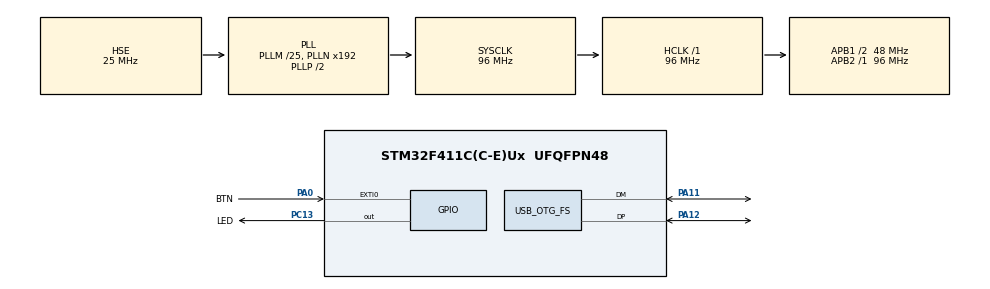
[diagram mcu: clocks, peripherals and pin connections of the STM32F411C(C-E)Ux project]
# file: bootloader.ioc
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Mcu.Family=STM32F4
Mcu.Name=STM32F411C(C-E)Ux
Mcu.Package=UFQFPN48
NVIC.EXTI0_IRQn=true\:0\:0\:false\:false\:true\:true\:true\:true
NVIC.OTG_FS_IRQn=true\:0\:0\:false\:false\:true\:false\:true\:true
NVIC.PriorityGroup=NVIC_PRIORITYGROUP_4
PA0-WKUP.GPIO_Label=BTN
PA0-WKUP.GPIO_ModeDefaultEXTI=GPIO_MODE_IT_RISING
PA0-WKUP.GPIO_PuPd=GPIO_PULLUP
PA0-WKUP.Signal=GPXTI0
PA11.Mode=Device_Only
PA11.Signal=USB_OTG_FS_DM
PA12.Mode=Device_Only
PA12.Signal=USB_OTG_FS_DP
PA13.Mode=Serial_Wire
PA13.Signal=SYS_JTMS-SWDIO
PA14.Mode=Serial_Wire
PA14.Signal=SYS_JTCK-SWCLK
PC13-ANTI_TAMP.GPIO_Label=LED
PC13-ANTI_TAMP.GPIO_ModeDefaultOutputPP=GPIO_MODE_OUTPUT_OD
PC13-ANTI_TAMP.PinState=GPIO_PIN_SET
PC13-ANTI_TAMP.Signal=GPIO_Output
PH0\ -\ OSC_IN.Mode=HSE-External-Oscillator
PH0\ -\ OSC_IN.Signal=RCC_OSC_IN
PH1\ -\ OSC_OUT.Mode=HSE-External-Oscillator
PH1\ -\ OSC_OUT.Signal=RCC_OSC_OUT
ProjectManager.HeapSize=0x200
ProjectManager.StackSize=0x400
ProjectManager.TargetToolchain=STM32CubeIDE
RCC.48MHZClocksFreq_Value=48000000
RCC.AHBFreq_Value=96000000
RCC.APB1CLKDivider=RCC_HCLK_DIV2
RCC.APB1Freq_Value=48000000
RCC.APB1TimFreq_Value=96000000
RCC.APB2Freq_Value=96000000
RCC.APB2TimFreq_Value=96000000
RCC.CortexFreq_Value=96000000
RCC.HCLKFreq_Value=96000000
RCC.HSE_VALUE=25000000
RCC.HSI_VALUE=16000000
RCC.LSE_VALUE=32768
RCC.PLLM=25
RCC.SYSCLKFreq_VALUE=96000000
RCC.SYSCLKSource=RCC_SYSCLKSOURCE_PLLCLK
RCC.VCOOutputFreq_Value=192000000
USB_DEVICE.CLASS_NAME_FS=DFU
USB_DEVICE.MANUFACTURER_STRING=Lars Boegild Thomsen
USB_DEVICE.PRODUCT_STRING_DFU_FS=Demo Firmware Update
USB_DEVICE.USBD_DFU_APP_DEFAULT_ADD=0x08004000
USB_DEVICE.USBD_DFU_MEDIA=@Internal Flash   /0x08000000/01*16Ka,03*16Kg,01*64Kg,03*128Kg
USB_DEVICE.VirtualMode=Dfu
USB_DEVICE.VirtualModeFS=Dfu_FS
USB_OTG_FS.VirtualMode=Device_Only
VP_USB_DEVICE_VS_USB_DEVICE_DFU_FS.Mode=DFU_FS
board=custom

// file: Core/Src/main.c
/* USER CODE BEGIN Header */
/**
 ******************************************************************************
 * @file           : main.c
 * @brief          : Main program body
 ******************************************************************************
 * @attention
 *
 * <h2><center>&copy; Copyright (c) 20220 Lars Boegild Thomsen <lbthomsen@gmail.com>
 * All rights reserved.</center></h2>
 *
 * This software component is licensed under MIT license,
 * the "License"; You may not use this file except in compliance with the
 * License. You may obtain a copy of the License at:
 *                        opensource.org/licenses/MIT
 *
 ******************************************************************************
 */
/* USER CODE END Header */
#include "main.h"
#include "usb_device.h"

/* USER CODE BEGIN Includes */
#include "usbd_core.h"
#include "usbd_dfu.h"
/* USER CODE END Includes */

/* USER CODE BEGIN PTD */

typedef void (*pFunction)(void);

/* USER CODE END PTD */

/* USER CODE BEGIN PD */

#define DFU_BOOT_FLAG 0xDEADBEEF

/* USER CODE END PD */

/* USER CODE BEGIN PV */
extern int _estack;
uint32_t *dfu_boot_flag;
pFunction JumpToApplication;
uint32_t JumpAddress;

extern USBD_HandleTypeDef hUsbDeviceFS;
/* USER CODE END PV */

void SystemClock_Config(void);
static void MX_GPIO_Init(void);

/* USER CODE BEGIN 0 */
void HAL_GPIO_EXTI_Callback(uint16_t GPIO_Pin) {
	if (GPIO_Pin == BTN_Pin) // If the button
	{
		HAL_NVIC_SystemReset();
	}
}
/* USER CODE END 0 */

int main(void)
{

  /* USER CODE BEGIN 1 */

	dfu_boot_flag = (uint32_t*) (&_estack - 100); // set in linker script

	if (*dfu_boot_flag != DFU_BOOT_FLAG) {

		/* Test if user code is programmed starting from address 0x08008000 */
		if (((*(__IO uint32_t*) USBD_DFU_APP_DEFAULT_ADD) & 0x2FFC0000)
				== 0x20000000) {

			/* Jump to user application */
			JumpAddress = *(__IO uint32_t*) (USBD_DFU_APP_DEFAULT_ADD + 4);
			JumpToApplication = (pFunction) JumpAddress;

			/* Initialize user application's Stack Pointer */
			__set_MSP(*(__IO uint32_t*) USBD_DFU_APP_DEFAULT_ADD);
			JumpToApplication();
		}

	}

	*dfu_boot_flag = 0; // So next boot won't be affected

  /* USER CODE END 1 */

  /* MCU Configuration--------------------------------------------------------*/

  /* Reset of all peripherals, Initializes the Flash interface and the Systick. */
  HAL_Init();

  /* Configure the system clock */
  SystemClock_Config();

  /* Initialize all configured peripherals */
  MX_GPIO_Init();
  MX_USB_DEVICE_Init();

  /* Infinite loop */
  /* USER CODE BEGIN WHILE */

	uint32_t now = 0, then = 0;

	while (1) {

		now = HAL_GetTick();
		if (now - then >= 100) {
			HAL_GPIO_TogglePin(LED_GPIO_Port, LED_Pin);

			then = now;
		}

    /* USER CODE END WHILE */

	}
}

void SystemClock_Config(void)
{
  RCC_OscInitTypeDef RCC_OscInitStruct = {0};
  RCC_ClkInitTypeDef RCC_ClkInitStruct = {0};

  /** Configure the main internal regulator output voltage
  */
  __HAL_RCC_PWR_CLK_ENABLE();
  __HAL_PWR_VOLTAGESCALING_CONFIG(PWR_REGULATOR_VOLTAGE_SCALE1);

  /** Initializes the RCC Oscillators according to the specified parameters
  * in the RCC_OscInitTypeDef structure.
  */
  RCC_OscInitStruct.OscillatorType = RCC_OSCILLATORTYPE_HSE;
  RCC_OscInitStruct.HSEState = RCC_HSE_ON;
  RCC_OscInitStruct.PLL.PLLState = RCC_PLL_ON;
  RCC_OscInitStruct.PLL.PLLSource = RCC_PLLSOURCE_HSE;
  RCC_OscInitStruct.PLL.PLLM = 25;
  RCC_OscInitStruct.PLL.PLLN = 192;
  RCC_OscInitStruct.PLL.PLLP = RCC_PLLP_DIV2;
  RCC_OscInitStruct.PLL.PLLQ = 4;
  if (HAL_RCC_OscConfig(&RCC_OscInitStruct) != HAL_OK)
  {
    Error_Handler();
  }

  /** Initializes the CPU, AHB and APB buses clocks
  */
  RCC_ClkInitStruct.ClockType = RCC_CLOCKTYPE_HCLK|RCC_CLOCKTYPE_SYSCLK
                              |RCC_CLOCKTYPE_PCLK1|RCC_CLOCKTYPE_PCLK2;
  RCC_ClkInitStruct.SYSCLKSource = RCC_SYSCLKSOURCE_PLLCLK;
  RCC_ClkInitStruct.AHBCLKDivider = RCC_SYSCLK_DIV1;
  RCC_ClkInitStruct.APB1CLKDivider = RCC_HCLK_DIV2;
  RCC_ClkInitStruct.APB2CLKDivider = RCC_HCLK_DIV1;

  if (HAL_RCC_ClockConfig(&RCC_ClkInitStruct, FLASH_LATENCY_3) != HAL_OK)
  {
    Error_Handler();
  }
}

static void MX_GPIO_Init(void)
{
  GPIO_InitTypeDef GPIO_InitStruct = {0};

  /* GPIO Ports Clock Enable */
  __HAL_RCC_GPIOC_CLK_ENABLE();
  __HAL_RCC_GPIOH_CLK_ENABLE();
  __HAL_RCC_GPIOA_CLK_ENABLE();

  /*Configure GPIO pin Output Level */
  HAL_GPIO_WritePin(LED_GPIO_Port, LED_Pin, GPIO_PIN_SET);

  /*Configure GPIO pin : LED_Pin */
  GPIO_InitStruct.Pin = LED_Pin;
  GPIO_InitStruct.Mode = GPIO_MODE_OUTPUT_OD;
  GPIO_InitStruct.Pull = GPIO_NOPULL;
  GPIO_InitStruct.Speed = GPIO_SPEED_FREQ_LOW;
  HAL_GPIO_Init(LED_GPIO_Port, &GPIO_InitStruct);

  /*Configure GPIO pin : BTN_Pin */
  GPIO_InitStruct.Pin = BTN_Pin;
  GPIO_InitStruct.Mode = GPIO_MODE_IT_RISING;
  GPIO_InitStruct.Pull = GPIO_PULLUP;
  HAL_GPIO_Init(BTN_GPIO_Port, &GPIO_InitStruct);

  /* EXTI interrupt init*/
  HAL_NVIC_SetPriority(EXTI0_IRQn, 0, 0);
  HAL_NVIC_EnableIRQ(EXTI0_IRQn);

}

void Error_Handler(void)
{
	__disable_irq();
	while (1) {
	}
}
